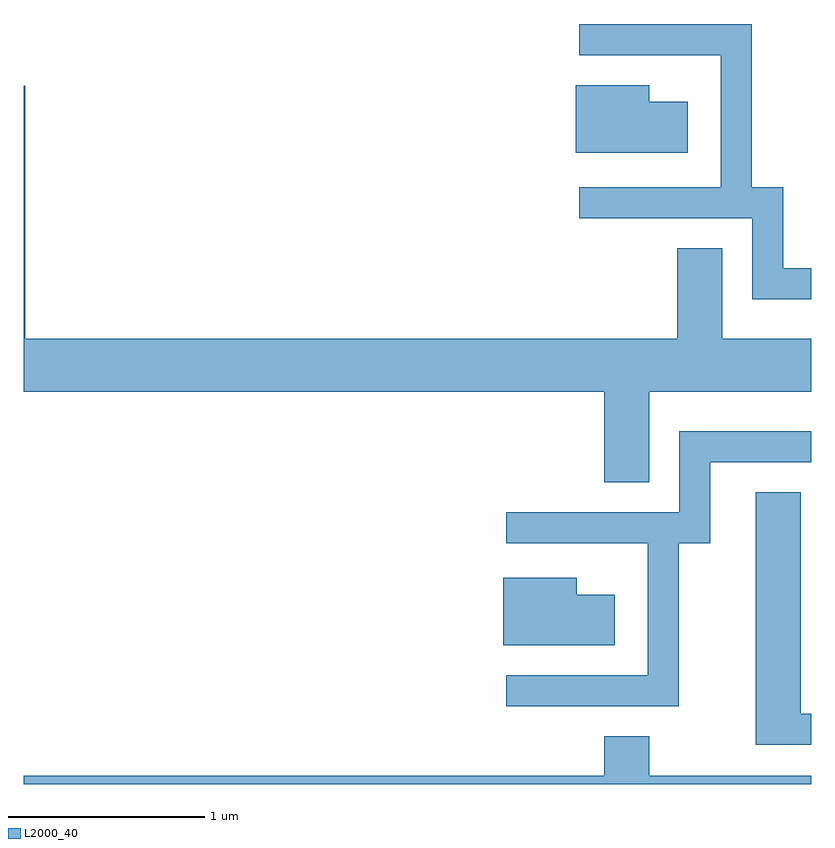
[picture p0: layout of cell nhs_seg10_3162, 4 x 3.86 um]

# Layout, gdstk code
import gdstk
lib = gdstk.Library(unit=1e-6, precision=1e-09)
def P(c, l, *ps):  # polygons
    for p in ps: c.add(gdstk.Polygon(p, *l))
L2000_40 = (2000, 40)

nhs_seg10_3162 = lib.new_cell('nhs_seg10_3162')
P(nhs_seg10_3162, L2000_40, [(281.611,2181.144),(281.469,2181.144),(281.469,2181.554),(281.309,2181.554),(281.309,2182.384),(280.433,2182.384),(280.433,2182.226),(281.151,2182.226),(281.151,2181.554),(280.433,2181.554),(280.433,2181.396),(281.311,2181.396),(281.311,2180.986),(281.611,2180.986)],
  [(280.984,2181.989),(280.789,2181.989),(280.789,2182.074),(280.416,2182.074),(280.416,2181.731),(280.984,2181.731)],
  [(280.789,2180.516),(281.611,2180.516),(281.611,2180.784),(281.159,2180.784),(281.159,2181.244),(280.931,2181.244),(280.931,2180.784),(277.619,2180.784),(277.619,2182.069),(277.611,2182.069),(277.611,2180.516),(280.561,2180.516),(280.561,2180.056),(280.789,2180.056)],
  [(280.939,2179.746),(281.099,2179.746),(281.099,2180.156),(281.611,2180.156),(281.611,2180.314),(280.941,2180.314),(280.941,2179.904),(280.063,2179.904),(280.063,2179.746),(280.781,2179.746),(280.781,2179.074),(280.063,2179.074),(280.063,2178.916),(280.939,2178.916)],
  [(281.611,2178.879),(281.559,2178.879),(281.559,2180.004),(281.331,2180.004),(281.331,2178.721),(281.611,2178.721)],
  [(280.614,2179.484),(280.419,2179.484),(280.419,2179.569),(280.046,2179.569),(280.046,2179.226),(280.614,2179.226)],
  [(281.611,2178.564),(280.789,2178.564),(280.789,2178.764),(280.561,2178.764),(280.561,2178.564),(277.611,2178.564),(277.611,2178.522),(281.611,2178.522)])

lib.write_gds('nhs_seg10_3162.gds')
